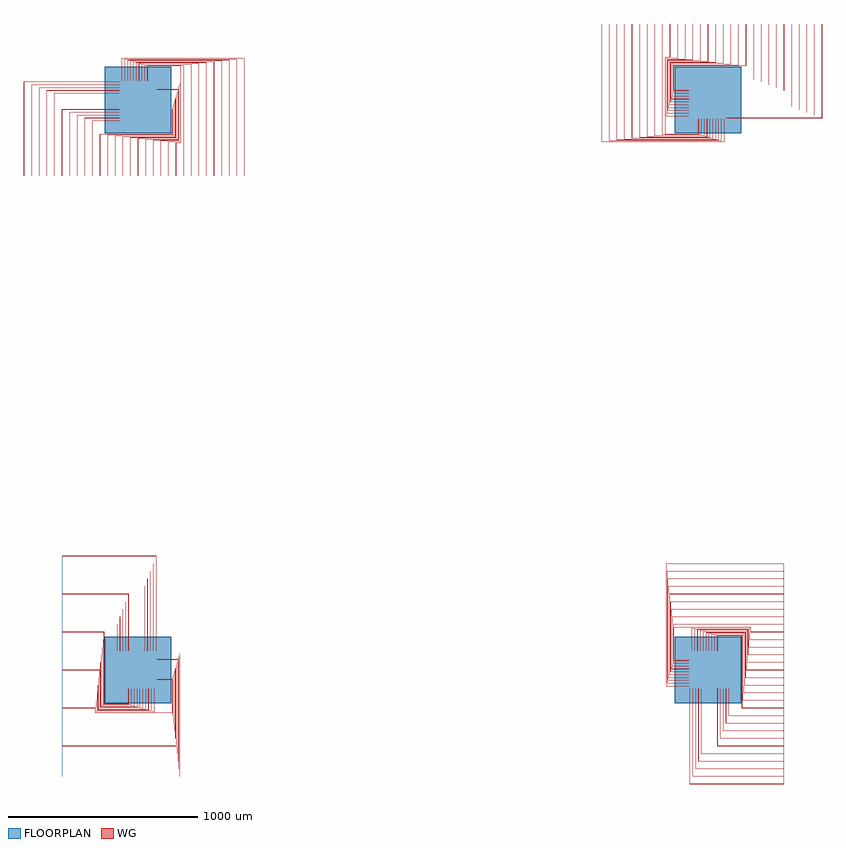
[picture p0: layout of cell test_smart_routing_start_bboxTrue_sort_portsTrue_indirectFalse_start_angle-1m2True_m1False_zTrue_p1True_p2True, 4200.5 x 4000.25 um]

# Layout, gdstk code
import gdstk
lib = gdstk.Library(unit=1e-6, precision=1e-09)
def R(c, l, rs):  # rectangles x0, y0, x1, y1
    for r in rs: c.add(gdstk.rectangle(r[:2], r[2:], *l))
def P(c, l, *ps):  # polygons
    for p in ps: c.add(gdstk.Polygon(p, *l))
WG = (1, 0)
FLOORPLAN = (10, 0)

test_smart_routing_start = lib.new_cell('test_smart_routing_start_bboxTrue_sort_portsTrue_indirectFalse_start_angle-1m2True_m1False_zTrue_p1True_p2True')
P(test_smart_routing_start, WG, [(3100,2905.05),(3100,2905.25),(3599.75,2905.25),(3599.75,3400),(3599.95,3400),(3599.95,2905.05)],
  [(3100,2904.75),(3100,2904.95),(3600.05,2904.95),(3600.05,3400),(3600.25,3400),(3600.25,2904.75)],
  [(3100,2920.05),(3100,2920.25),(3559.75,2920.25),(3559.75,3400),(3559.95,3400),(3559.95,2920.05)],
  [(3100,2919.75),(3100,2919.95),(3560.05,2919.95),(3560.05,3400),(3560.25,3400),(3560.25,2919.75)],
  [(3100,2935.05),(3100,2935.25),(3519.75,2935.25),(3519.75,3400),(3519.95,3400),(3519.95,2935.05)],
  [(3100,2934.75),(3100,2934.95),(3520.05,2934.95),(3520.05,3400),(3520.25,3400),(3520.25,2934.75)],
  [(3100,2950.05),(3100,2950.25),(3479.75,2950.25),(3479.75,3400),(3479.95,3400),(3479.95,2950.05)],
  [(3100,2949.75),(3100,2949.95),(3480.05,2949.95),(3480.05,3400),(3480.25,3400),(3480.25,2949.75)],
  [(3100,2965.05),(3100,2965.25),(3439.75,2965.25),(3439.75,3400),(3439.95,3400),(3439.95,2965.05)],
  [(3100,2964.75),(3100,2964.95),(3440.05,2964.95),(3440.05,3400),(3440.25,3400),(3440.25,2964.75)],
  [(3100,3050.05),(3100,3050.25),(3399.75,3050.25),(3399.75,3400),(3399.95,3400),(3399.95,3050.05)],
  [(3100,3049.75),(3100,3049.95),(3400.05,3049.95),(3400.05,3400),(3400.25,3400),(3400.25,3049.75)],
  [(3100,3065.05),(3100,3065.25),(3359.75,3065.25),(3359.75,3400),(3359.95,3400),(3359.95,3065.05)],
  [(3100,3064.75),(3100,3064.95),(3360.05,3064.95),(3360.05,3400),(3360.25,3400),(3360.25,3064.75)],
  [(3100,3080.05),(3100,3080.25),(3319.75,3080.25),(3319.75,3400),(3319.95,3400),(3319.95,3080.05)],
  [(3100,3079.75),(3100,3079.95),(3320.05,3079.95),(3320.05,3400),(3320.25,3400),(3320.25,3079.75)],
  [(3100,3095.05),(3100,3095.25),(3279.75,3095.25),(3279.75,3400),(3279.95,3400),(3279.95,3095.05)],
  [(3100,3094.75),(3100,3094.95),(3280.05,3094.95),(3280.05,3400),(3280.25,3400),(3280.25,3094.75)],
  [(3100,3110.05),(3100,3110.25),(3239.75,3110.25),(3239.75,3400),(3239.95,3400),(3239.95,3110.05)],
  [(3100,3109.75),(3100,3109.95),(3240.05,3109.95),(3240.05,3400),(3240.25,3400),(3240.25,3109.75)],
  [(2820.5,3049.75),(2820.5,3179.5),(3199.75,3179.5),(3199.75,3400),(3199.95,3400),(3199.95,3179.3),(2820.7,3179.3),(2820.7,3049.95),(2900,3049.95),(2900,3049.75)],
  [(2820.8,3050.05),(2820.8,3179.2),(3200.05,3179.2),(3200.05,3400),(3200.25,3400),(3200.25,3179),(2821,3179),(2821,3050.25),(2900,3050.25),(2900,3050.05)],
  [(2816,3034.75),(2816,3184),(3159.75,3184),(3159.75,3400),(3159.95,3400),(3159.95,3183.8),(2816.2,3183.8),(2816.2,3034.95),(2900,3034.95),(2900,3034.75)],
  [(2816.3,3035.05),(2816.3,3183.7),(3160.05,3183.7),(3160.05,3400),(3160.25,3400),(3160.25,3183.5),(2816.5,3183.5),(2816.5,3035.25),(2900,3035.25),(2900,3035.05)],
  [(2811.5,3019.75),(2811.5,3188.5),(3119.75,3188.5),(3119.75,3400),(3119.95,3400),(3119.95,3188.3),(2811.7,3188.3),(2811.7,3019.95),(2900,3019.95),(2900,3019.75)],
  [(2811.8,3020.05),(2811.8,3188.2),(3120.05,3188.2),(3120.05,3400),(3120.25,3400),(3120.25,3188),(2812,3188),(2812,3020.25),(2900,3020.25),(2900,3020.05)],
  [(2807,3004.75),(2807,3193),(3079.75,3193),(3079.75,3400),(3079.95,3400),(3079.95,3192.8),(2807.2,3192.8),(2807.2,3004.95),(2900,3004.95),(2900,3004.75)],
  [(2807.3,3005.05),(2807.3,3192.7),(3080.05,3192.7),(3080.05,3400),(3080.25,3400),(3080.25,3192.5),(2807.5,3192.5),(2807.5,3005.25),(2900,3005.25),(2900,3005.05)],
  [(2802.5,2989.75),(2802.5,3197.5),(3039.75,3197.5),(3039.75,3400),(3039.95,3400),(3039.95,3197.3),(2802.7,3197.3),(2802.7,2989.95),(2900,2989.95),(2900,2989.75)],
  [(2802.8,2990.05),(2802.8,3197.2),(3040.05,3197.2),(3040.05,3400),(3040.25,3400),(3040.25,3197),(2803,3197),(2803,2990.25),(2900,2990.25),(2900,2990.05)],
  [(2798,2974.75),(2798,3202),(2999.75,3202),(2999.75,3400),(2999.95,3400),(2999.95,3201.8),(2798.2,3201.8),(2798.2,2974.95),(2900,2974.95),(2900,2974.75)],
  [(2798.3,2975.05),(2798.3,3201.7),(3000.05,3201.7),(3000.05,3400),(3000.25,3400),(3000.25,3201.5),(2798.5,3201.5),(2798.5,2975.25),(2900,2975.25),(2900,2975.05)],
  [(2793.5,2959.75),(2793.5,3206.5),(2959.75,3206.5),(2959.75,3400),(2959.95,3400),(2959.95,3206.3),(2793.7,3206.3),(2793.7,2959.95),(2900,2959.95),(2900,2959.75)],
  [(2793.8,2960.05),(2793.8,3206.2),(2960.05,3206.2),(2960.05,3400),(2960.25,3400),(2960.25,3206),(2794,3206),(2794,2960.25),(2900,2960.25),(2900,2960.05)],
  [(2789,2944.75),(2789,3211),(2919.75,3211),(2919.75,3400),(2919.95,3400),(2919.95,3210.8),(2789.2,3210.8),(2789.2,2944.95),(2900,2944.95),(2900,2944.75)],
  [(2789.3,2945.05),(2789.3,3210.7),(2920.05,3210.7),(2920.05,3400),(2920.25,3400),(2920.25,3210.5),(2789.5,3210.5),(2789.5,2945.25),(2900,2945.25),(2900,2945.05)],
  [(2784.5,2929.75),(2784.5,3215.5),(2879.75,3215.5),(2879.75,3400),(2879.95,3400),(2879.95,3215.3),(2784.7,3215.3),(2784.7,2929.95),(2900,2929.95),(2900,2929.75)],
  [(2784.8,2930.05),(2784.8,3215.2),(2880.05,3215.2),(2880.05,3400),(2880.25,3400),(2880.25,3215),(2785,3215),(2785,2930.25),(2900,2930.25),(2900,2930.05)],
  [(2780,2914.75),(2780,3220),(2839.75,3220),(2839.75,3400),(2839.95,3400),(2839.95,3219.8),(2780.2,3219.8),(2780.2,2914.95),(2900,2914.95),(2900,2914.75)],
  [(2780.3,2915.05),(2780.3,3219.7),(2840.05,3219.7),(2840.05,3400),(2840.25,3400),(2840.25,3219.5),(2780.5,3219.5),(2780.5,2915.25),(2900,2915.25),(2900,2915.05)],
  [(2775.5,2820.5),(2775.5,3224.5),(2799.75,3224.5),(2799.75,3400),(2799.95,3400),(2799.95,3224.3),(2775.7,3224.3),(2775.7,2820.7),(2950.05,2820.7),(2950.05,2900),(2950.25,2900),(2950.25,2820.5)],
  [(2775.8,2820.8),(2775.8,3224.2),(2800.05,3224.2),(2800.05,3400),(2800.25,3400),(2800.25,3224),(2776,3224),(2776,2821),(2949.75,2821),(2949.75,2900),(2949.95,2900),(2949.95,2820.8)],
  [(2759.75,2816),(2759.75,3400),(2759.95,3400),(2759.95,2816.2),(2965.05,2816.2),(2965.05,2900),(2965.25,2900),(2965.25,2816)],
  [(2760.05,2816.3),(2760.05,3400),(2760.25,3400),(2760.25,2816.5),(2964.75,2816.5),(2964.75,2900),(2964.95,2900),(2964.95,2816.3)],
  [(2719.75,2811.5),(2719.75,3400),(2719.95,3400),(2719.95,2811.7),(2980.05,2811.7),(2980.05,2900),(2980.25,2900),(2980.25,2811.5)],
  [(2720.05,2811.8),(2720.05,3400),(2720.25,3400),(2720.25,2812),(2979.75,2812),(2979.75,2900),(2979.95,2900),(2979.95,2811.8)],
  [(2679.75,2807),(2679.75,3400),(2679.95,3400),(2679.95,2807.2),(2995.05,2807.2),(2995.05,2900),(2995.25,2900),(2995.25,2807)],
  [(2680.05,2807.3),(2680.05,3400),(2680.25,3400),(2680.25,2807.5),(2994.75,2807.5),(2994.75,2900),(2994.95,2900),(2994.95,2807.3)],
  [(2639.75,2802.5),(2639.75,3400),(2639.95,3400),(2639.95,2802.7),(3010.05,2802.7),(3010.05,2900),(3010.25,2900),(3010.25,2802.5)],
  [(2640.05,2802.8),(2640.05,3400),(2640.25,3400),(2640.25,2803),(3009.75,2803),(3009.75,2900),(3009.95,2900),(3009.95,2802.8)],
  [(2599.75,2798),(2599.75,3400),(2599.95,3400),(2599.95,2798.2),(3025.05,2798.2),(3025.05,2900),(3025.25,2900),(3025.25,2798)],
  [(2600.05,2798.3),(2600.05,3400),(2600.25,3400),(2600.25,2798.5),(3024.75,2798.5),(3024.75,2900),(3024.95,2900),(3024.95,2798.3)],
  [(2559.75,2793.5),(2559.75,3400),(2559.95,3400),(2559.95,2793.7),(3040.05,2793.7),(3040.05,2900),(3040.25,2900),(3040.25,2793.5)],
  [(2560.05,2793.8),(2560.05,3400),(2560.25,3400),(2560.25,2794),(3039.75,2794),(3039.75,2900),(3039.95,2900),(3039.95,2793.8)],
  [(2519.75,2789),(2519.75,3400),(2519.95,3400),(2519.95,2789.2),(3055.05,2789.2),(3055.05,2900),(3055.25,2900),(3055.25,2789)],
  [(2520.05,2789.3),(2520.05,3400),(2520.25,3400),(2520.25,2789.5),(3054.75,2789.5),(3054.75,2900),(3054.95,2900),(3054.95,2789.3)],
  [(2479.75,2784.5),(2479.75,3400),(2479.95,3400),(2479.95,2784.7),(3070.05,2784.7),(3070.05,2900),(3070.25,2900),(3070.25,2784.5)],
  [(2480.05,2784.8),(2480.05,3400),(2480.25,3400),(2480.25,2785),(3069.75,2785),(3069.75,2900),(3069.95,2900),(3069.95,2784.8)],
  [(2439.75,2780),(2439.75,3400),(2439.95,3400),(2439.95,2780.2),(3085.05,2780.2),(3085.05,2900),(3085.25,2900),(3085.25,2780)],
  [(2440.05,2780.3),(2440.05,3400),(2440.25,3400),(2440.25,2780.5),(3084.75,2780.5),(3084.75,2900),(3084.95,2900),(3084.95,2780.3)],
  [(-599.95,2600),(-599.95,3094.95),(-100,3094.95),(-100,3094.75),(-599.75,3094.75),(-599.75,2600)],
  [(-600.25,2600),(-600.25,3095.25),(-100,3095.25),(-100,3095.05),(-600.05,3095.05),(-600.05,2600)],
  [(-559.95,2600),(-559.95,3079.95),(-100,3079.95),(-100,3079.75),(-559.75,3079.75),(-559.75,2600)],
  [(-560.25,2600),(-560.25,3080.25),(-100,3080.25),(-100,3080.05),(-560.05,3080.05),(-560.05,2600)],
  [(-519.95,2600),(-519.95,3064.95),(-100,3064.95),(-100,3064.75),(-519.75,3064.75),(-519.75,2600)],
  [(-520.25,2600),(-520.25,3065.25),(-100,3065.25),(-100,3065.05),(-520.05,3065.05),(-520.05,2600)],
  [(-479.95,2600),(-479.95,3049.95),(-100,3049.95),(-100,3049.75),(-479.75,3049.75),(-479.75,2600)],
  [(-480.25,2600),(-480.25,3050.25),(-100,3050.25),(-100,3050.05),(-480.05,3050.05),(-480.05,2600)],
  [(-439.95,2600),(-439.95,3034.95),(-100,3034.95),(-100,3034.75),(-439.75,3034.75),(-439.75,2600)],
  [(-440.25,2600),(-440.25,3035.25),(-100,3035.25),(-100,3035.05),(-440.05,3035.05),(-440.05,2600)],
  [(-399.95,2600),(-399.95,2949.95),(-100,2949.95),(-100,2949.75),(-399.75,2949.75),(-399.75,2600)],
  [(-400.25,2600),(-400.25,2950.25),(-100,2950.25),(-100,2950.05),(-400.05,2950.05),(-400.05,2600)],
  [(-359.95,2600),(-359.95,2934.95),(-100,2934.95),(-100,2934.75),(-359.75,2934.75),(-359.75,2600)],
  [(-360.25,2600),(-360.25,2935.25),(-100,2935.25),(-100,2935.05),(-360.05,2935.05),(-360.05,2600)],
  [(-319.95,2600),(-319.95,2919.95),(-100,2919.95),(-100,2919.75),(-319.75,2919.75),(-319.75,2600)],
  [(-320.25,2600),(-320.25,2920.25),(-100,2920.25),(-100,2920.05),(-320.05,2920.05),(-320.05,2600)],
  [(-279.95,2600),(-279.95,2904.95),(-100,2904.95),(-100,2904.75),(-279.75,2904.75),(-279.75,2600)],
  [(-280.25,2600),(-280.25,2905.25),(-100,2905.25),(-100,2905.05),(-280.05,2905.05),(-280.05,2600)],
  [(-239.95,2600),(-239.95,2889.95),(-100,2889.95),(-100,2889.75),(-239.75,2889.75),(-239.75,2600)],
  [(-240.25,2600),(-240.25,2890.25),(-100,2890.25),(-100,2890.05),(-240.05,2890.05),(-240.05,2600)],
  [(-200.25,2600),(-200.25,2821),(179,2821),(179,2949.75),(100,2949.75),(100,2949.95),(179.2,2949.95),(179.2,2820.8),(-200.05,2820.8),(-200.05,2600)],
  [(-199.95,2600),(-199.95,2820.7),(179.3,2820.7),(179.3,2950.05),(100,2950.05),(100,2950.25),(179.5,2950.25),(179.5,2820.5),(-199.75,2820.5),(-199.75,2600)],
  [(-160.25,2600),(-160.25,2816.5),(183.5,2816.5),(183.5,2964.75),(100,2964.75),(100,2964.95),(183.7,2964.95),(183.7,2816.3),(-160.05,2816.3),(-160.05,2600)],
  [(-159.95,2600),(-159.95,2816.2),(183.8,2816.2),(183.8,2965.05),(100,2965.05),(100,2965.25),(184,2965.25),(184,2816),(-159.75,2816),(-159.75,2600)],
  [(-120.25,2600),(-120.25,2812),(188,2812),(188,2979.75),(100,2979.75),(100,2979.95),(188.2,2979.95),(188.2,2811.8),(-120.05,2811.8),(-120.05,2600)],
  [(-119.95,2600),(-119.95,2811.7),(188.3,2811.7),(188.3,2980.05),(100,2980.05),(100,2980.25),(188.5,2980.25),(188.5,2811.5),(-119.75,2811.5),(-119.75,2600)],
  [(-80.25,2600),(-80.25,2807.5),(192.5,2807.5),(192.5,2994.75),(100,2994.75),(100,2994.95),(192.7,2994.95),(192.7,2807.3),(-80.05,2807.3),(-80.05,2600)],
  [(-79.95,2600),(-79.95,2807.2),(192.8,2807.2),(192.8,2995.05),(100,2995.05),(100,2995.25),(193,2995.25),(193,2807),(-79.75,2807),(-79.75,2600)],
  [(-40.25,2600),(-40.25,2803),(197,2803),(197,3009.75),(100,3009.75),(100,3009.95),(197.2,3009.95),(197.2,2802.8),(-40.05,2802.8),(-40.05,2600)],
  [(-39.95,2600),(-39.95,2802.7),(197.3,2802.7),(197.3,3010.05),(100,3010.05),(100,3010.25),(197.5,3010.25),(197.5,2802.5),(-39.75,2802.5),(-39.75,2600)],
  [(-0.25,2600),(-0.25,2798.5),(201.5,2798.5),(201.5,3024.75),(100,3024.75),(100,3024.95),(201.7,3024.95),(201.7,2798.3),(-0.05,2798.3),(-0.05,2600)],
  [(0.05,2600),(0.05,2798.2),(201.8,2798.2),(201.8,3025.05),(100,3025.05),(100,3025.25),(202,3025.25),(202,2798),(0.25,2798),(0.25,2600)],
  [(39.75,2600),(39.75,2794),(206,2794),(206,3039.75),(100,3039.75),(100,3039.95),(206.2,3039.95),(206.2,2793.8),(39.95,2793.8),(39.95,2600)],
  [(40.05,2600),(40.05,2793.7),(206.3,2793.7),(206.3,3040.05),(100,3040.05),(100,3040.25),(206.5,3040.25),(206.5,2793.5),(40.25,2793.5),(40.25,2600)],
  [(79.75,2600),(79.75,2789.5),(210.5,2789.5),(210.5,3054.75),(100,3054.75),(100,3054.95),(210.7,3054.95),(210.7,2789.3),(79.95,2789.3),(79.95,2600)],
  [(80.05,2600),(80.05,2789.2),(210.8,2789.2),(210.8,3055.05),(100,3055.05),(100,3055.25),(211,3055.25),(211,2789),(80.25,2789),(80.25,2600)],
  [(119.75,2600),(119.75,2785),(215,2785),(215,3069.75),(100,3069.75),(100,3069.95),(215.2,3069.95),(215.2,2784.8),(119.95,2784.8),(119.95,2600)],
  [(120.05,2600),(120.05,2784.7),(215.3,2784.7),(215.3,3070.05),(100,3070.05),(100,3070.25),(215.5,3070.25),(215.5,2784.5),(120.25,2784.5),(120.25,2600)],
  [(159.75,2600),(159.75,2780.5),(219.5,2780.5),(219.5,3084.75),(100,3084.75),(100,3084.95),(219.7,3084.95),(219.7,2780.3),(159.95,2780.3),(159.95,2600)],
  [(160.05,2600),(160.05,2780.2),(219.8,2780.2),(219.8,3085.05),(100,3085.05),(100,3085.25),(220,3085.25),(220,2780),(160.25,2780),(160.25,2600)],
  [(199.75,2600),(199.75,2776),(224,2776),(224,3179),(50.25,3179),(50.25,3100),(50.05,3100),(50.05,3179.2),(224.2,3179.2),(224.2,2775.8),(199.95,2775.8),(199.95,2600)],
  [(200.05,2600),(200.05,2775.7),(224.3,2775.7),(224.3,3179.3),(49.95,3179.3),(49.95,3100),(49.75,3100),(49.75,3179.5),(224.5,3179.5),(224.5,2775.5),(200.25,2775.5),(200.25,2600)],
  [(239.75,2600),(239.75,3183.5),(35.25,3183.5),(35.25,3100),(35.05,3100),(35.05,3183.7),(239.95,3183.7),(239.95,2600)],
  [(240.05,2600),(240.05,3183.8),(34.95,3183.8),(34.95,3100),(34.75,3100),(34.75,3184),(240.25,3184),(240.25,2600)],
  [(279.75,2600),(279.75,3188),(20.25,3188),(20.25,3100),(20.05,3100),(20.05,3188.2),(279.95,3188.2),(279.95,2600)],
  [(280.05,2600),(280.05,3188.3),(19.95,3188.3),(19.95,3100),(19.75,3100),(19.75,3188.5),(280.25,3188.5),(280.25,2600)],
  [(319.75,2600),(319.75,3192.5),(5.25,3192.5),(5.25,3100),(5.05,3100),(5.05,3192.7),(319.95,3192.7),(319.95,2600)],
  [(320.05,2600),(320.05,3192.8),(4.95,3192.8),(4.95,3100),(4.75,3100),(4.75,3193),(320.25,3193),(320.25,2600)],
  [(359.75,2600),(359.75,3197),(-9.75,3197),(-9.75,3100),(-9.95,3100),(-9.95,3197.2),(359.95,3197.2),(359.95,2600)],
  [(360.05,2600),(360.05,3197.3),(-10.05,3197.3),(-10.05,3100),(-10.25,3100),(-10.25,3197.5),(360.25,3197.5),(360.25,2600)],
  [(399.75,2600),(399.75,3201.5),(-24.75,3201.5),(-24.75,3100),(-24.95,3100),(-24.95,3201.7),(399.95,3201.7),(399.95,2600)],
  [(400.05,2600),(400.05,3201.8),(-25.05,3201.8),(-25.05,3100),(-25.25,3100),(-25.25,3202),(400.25,3202),(400.25,2600)],
  [(439.75,2600),(439.75,3206),(-39.75,3206),(-39.75,3100),(-39.95,3100),(-39.95,3206.2),(439.95,3206.2),(439.95,2600)],
  [(440.05,2600),(440.05,3206.3),(-40.05,3206.3),(-40.05,3100),(-40.25,3100),(-40.25,3206.5),(440.25,3206.5),(440.25,2600)],
  [(479.75,2600),(479.75,3210.5),(-54.75,3210.5),(-54.75,3100),(-54.95,3100),(-54.95,3210.7),(479.95,3210.7),(479.95,2600)],
  [(480.05,2600),(480.05,3210.8),(-55.05,3210.8),(-55.05,3100),(-55.25,3100),(-55.25,3211),(480.25,3211),(480.25,2600)],
  [(519.75,2600),(519.75,3215),(-69.75,3215),(-69.75,3100),(-69.95,3100),(-69.95,3215.2),(519.95,3215.2),(519.95,2600)],
  [(520.05,2600),(520.05,3215.3),(-70.05,3215.3),(-70.05,3100),(-70.25,3100),(-70.25,3215.5),(520.25,3215.5),(520.25,2600)],
  [(559.75,2600),(559.75,3219.5),(-84.75,3219.5),(-84.75,3100),(-84.95,3100),(-84.95,3219.7),(559.95,3219.7),(559.95,2600)],
  [(560.05,2600),(560.05,3219.8),(-85.05,3219.8),(-85.05,3100),(-85.25,3100),(-85.25,3220),(560.25,3220),(560.25,2600)],
  [(94.75,100),(94.75,599.75),(-400,599.75),(-400,599.95),(94.95,599.95),(94.95,100)],
  [(95.05,100),(95.05,600.05),(-400,600.05),(-400,600.25),(95.25,600.25),(95.25,100)],
  [(79.75,100),(79.75,559.75),(-400,559.75),(-400,559.95),(79.95,559.95),(79.95,100)],
  [(80.05,100),(80.05,560.05),(-400,560.05),(-400,560.25),(80.25,560.25),(80.25,100)],
  [(64.75,100),(64.75,519.75),(-400,519.75),(-400,519.95),(64.95,519.95),(64.95,100)],
  [(65.05,100),(65.05,520.05),(-400,520.05),(-400,520.25),(65.25,520.25),(65.25,100)],
  [(49.75,100),(49.75,479.75),(-400,479.75),(-400,479.95),(49.95,479.95),(49.95,100)],
  [(50.05,100),(50.05,480.05),(-400,480.05),(-400,480.25),(50.25,480.25),(50.25,100)],
  [(34.75,100),(34.75,439.75),(-400,439.75),(-400,439.95),(34.95,439.95),(34.95,100)],
  [(35.05,100),(35.05,440.05),(-400,440.05),(-400,440.25),(35.25,440.25),(35.25,100)],
  [(-50.25,100),(-50.25,399.75),(-400,399.75),(-400,399.95),(-50.05,399.95),(-50.05,100)],
  [(-49.95,100),(-49.95,400.05),(-400,400.05),(-400,400.25),(-49.75,400.25),(-49.75,100)],
  [(-65.25,100),(-65.25,359.75),(-400,359.75),(-400,359.95),(-65.05,359.95),(-65.05,100)],
  [(-64.95,100),(-64.95,360.05),(-400,360.05),(-400,360.25),(-64.75,360.25),(-64.75,100)],
  [(-80.25,100),(-80.25,319.75),(-400,319.75),(-400,319.95),(-80.05,319.95),(-80.05,100)],
  [(-79.95,100),(-79.95,320.05),(-400,320.05),(-400,320.25),(-79.75,320.25),(-79.75,100)],
  [(-95.25,100),(-95.25,279.75),(-400,279.75),(-400,279.95),(-95.05,279.95),(-95.05,100)],
  [(-94.95,100),(-94.95,280.05),(-400,280.05),(-400,280.25),(-94.75,280.25),(-94.75,100)],
  [(-110.25,100),(-110.25,239.75),(-400,239.75),(-400,239.95),(-110.05,239.95),(-110.05,100)],
  [(-109.95,100),(-109.95,240.05),(-400,240.05),(-400,240.25),(-109.75,240.25),(-109.75,100)],
  [(-179.5,-179.5),(-179.5,199.75),(-400,199.75),(-400,199.95),(-179.3,199.95),(-179.3,-179.3),(-49.95,-179.3),(-49.95,-100),(-49.75,-100),(-49.75,-179.5)],
  [(-179.2,-179.2),(-179.2,200.05),(-400,200.05),(-400,200.25),(-179,200.25),(-179,-179),(-50.25,-179),(-50.25,-100),(-50.05,-100),(-50.05,-179.2)],
  [(-184,-184),(-184,159.75),(-400,159.75),(-400,159.95),(-183.8,159.95),(-183.8,-183.8),(-34.95,-183.8),(-34.95,-100),(-34.75,-100),(-34.75,-184)],
  [(-183.7,-183.7),(-183.7,160.05),(-400,160.05),(-400,160.25),(-183.5,160.25),(-183.5,-183.5),(-35.25,-183.5),(-35.25,-100),(-35.05,-100),(-35.05,-183.7)],
  [(-188.5,-188.5),(-188.5,119.75),(-400,119.75),(-400,119.95),(-188.3,119.95),(-188.3,-188.3),(-19.95,-188.3),(-19.95,-100),(-19.75,-100),(-19.75,-188.5)],
  [(-188.2,-188.2),(-188.2,120.05),(-400,120.05),(-400,120.25),(-188,120.25),(-188,-188),(-20.25,-188),(-20.25,-100),(-20.05,-100),(-20.05,-188.2)],
  [(-193,-193),(-193,79.75),(-400,79.75),(-400,79.95),(-192.8,79.95),(-192.8,-192.8),(-4.95,-192.8),(-4.95,-100),(-4.75,-100),(-4.75,-193)],
  [(-192.7,-192.7),(-192.7,80.05),(-400,80.05),(-400,80.25),(-192.5,80.25),(-192.5,-192.5),(-5.25,-192.5),(-5.25,-100),(-5.05,-100),(-5.05,-192.7)],
  [(-197.5,-197.5),(-197.5,39.75),(-400,39.75),(-400,39.95),(-197.3,39.95),(-197.3,-197.3),(10.05,-197.3),(10.05,-100),(10.25,-100),(10.25,-197.5)],
  [(-197.2,-197.2),(-197.2,40.05),(-400,40.05),(-400,40.25),(-197,40.25),(-197,-197),(9.75,-197),(9.75,-100),(9.95,-100),(9.95,-197.2)],
  [(-202,-202),(-202,-0.25),(-400,-0.25),(-400,-0.05),(-201.8,-0.05),(-201.8,-201.8),(25.05,-201.8),(25.05,-100),(25.25,-100),(25.25,-202)],
  [(-201.7,-201.7),(-201.7,0.05),(-400,0.05),(-400,0.25),(-201.5,0.25),(-201.5,-201.5),(24.75,-201.5),(24.75,-100),(24.95,-100),(24.95,-201.7)],
  [(-206.5,-206.5),(-206.5,-40.25),(-400,-40.25),(-400,-40.05),(-206.3,-40.05),(-206.3,-206.3),(40.05,-206.3),(40.05,-100),(40.25,-100),(40.25,-206.5)],
  [(-206.2,-206.2),(-206.2,-39.95),(-400,-39.95),(-400,-39.75),(-206,-39.75),(-206,-206),(39.75,-206),(39.75,-100),(39.95,-100),(39.95,-206.2)],
  [(-211,-211),(-211,-80.25),(-400,-80.25),(-400,-80.05),(-210.8,-80.05),(-210.8,-210.8),(55.05,-210.8),(55.05,-100),(55.25,-100),(55.25,-211)],
  [(-210.7,-210.7),(-210.7,-79.95),(-400,-79.95),(-400,-79.75),(-210.5,-79.75),(-210.5,-210.5),(54.75,-210.5),(54.75,-100),(54.95,-100),(54.95,-210.7)],
  [(-215.2,-215.2),(-215.2,-119.95),(-400,-119.95),(-400,-119.75),(-215,-119.75),(-215,-215),(69.75,-215),(69.75,-100),(69.95,-100),(69.95,-215.2)],
  [(-215.5,-215.5),(-215.5,-120.25),(-400,-120.25),(-400,-120.05),(-215.3,-120.05),(-215.3,-215.3),(70.05,-215.3),(70.05,-100),(70.25,-100),(70.25,-215.5)],
  [(-219.7,-219.7),(-219.7,-159.95),(-400,-159.95),(-400,-159.75),(-219.5,-159.75),(-219.5,-219.5),(84.75,-219.5),(84.75,-100),(84.95,-100),(84.95,-219.7)],
  [(-220,-220),(-220,-160.25),(-400,-160.25),(-400,-160.05),(-219.8,-160.05),(-219.8,-219.8),(85.05,-219.8),(85.05,-100),(85.25,-100),(85.25,-220)],
  [(-224.2,-224.2),(-224.2,-199.95),(-400,-199.95),(-400,-199.75),(-224,-199.75),(-224,-224),(179,-224),(179,-50.25),(100,-50.25),(100,-50.05),(179.2,-50.05),(179.2,-224.2)],
  [(-224.5,-224.5),(-224.5,-200.25),(-400,-200.25),(-400,-200.05),(-224.3,-200.05),(-224.3,-224.3),(179.3,-224.3),(179.3,-49.95),(100,-49.95),(100,-49.75),(179.5,-49.75),(179.5,-224.5)],
  [(-400,-239.95),(-400,-239.75),(183.5,-239.75),(183.5,-35.25),(100,-35.25),(100,-35.05),(183.7,-35.05),(183.7,-239.95)],
  [(-400,-240.25),(-400,-240.05),(183.8,-240.05),(183.8,-34.95),(100,-34.95),(100,-34.75),(184,-34.75),(184,-240.25)],
  [(-400,-279.95),(-400,-279.75),(188,-279.75),(188,-20.25),(100,-20.25),(100,-20.05),(188.2,-20.05),(188.2,-279.95)],
  [(-400,-280.25),(-400,-280.05),(188.3,-280.05),(188.3,-19.95),(100,-19.95),(100,-19.75),(188.5,-19.75),(188.5,-280.25)],
  [(-400,-319.95),(-400,-319.75),(192.5,-319.75),(192.5,-5.25),(100,-5.25),(100,-5.05),(192.7,-5.05),(192.7,-319.95)],
  [(-400,-320.25),(-400,-320.05),(192.8,-320.05),(192.8,-4.95),(100,-4.95),(100,-4.75),(193,-4.75),(193,-320.25)],
  [(-400,-359.95),(-400,-359.75),(197,-359.75),(197,9.75),(100,9.75),(100,9.95),(197.2,9.95),(197.2,-359.95)],
  [(-400,-360.25),(-400,-360.05),(197.3,-360.05),(197.3,10.05),(100,10.05),(100,10.25),(197.5,10.25),(197.5,-360.25)],
  [(-400,-399.95),(-400,-399.75),(201.5,-399.75),(201.5,24.75),(100,24.75),(100,24.95),(201.7,24.95),(201.7,-399.95)],
  [(-400,-400.25),(-400,-400.05),(201.8,-400.05),(201.8,25.05),(100,25.05),(100,25.25),(202,25.25),(202,-400.25)],
  [(-400,-439.95),(-400,-439.75),(206,-439.75),(206,39.75),(100,39.75),(100,39.95),(206.2,39.95),(206.2,-439.95)],
  [(-400,-440.25),(-400,-440.05),(206.3,-440.05),(206.3,40.05),(100,40.05),(100,40.25),(206.5,40.25),(206.5,-440.25)],
  [(-400,-479.95),(-400,-479.75),(210.5,-479.75),(210.5,54.75),(100,54.75),(100,54.95),(210.7,54.95),(210.7,-479.95)],
  [(-400,-480.25),(-400,-480.05),(210.8,-480.05),(210.8,55.05),(100,55.05),(100,55.25),(211,55.25),(211,-480.25)],
  [(-400,-519.95),(-400,-519.75),(215,-519.75),(215,69.75),(100,69.75),(100,69.95),(215.2,69.95),(215.2,-519.95)],
  [(-400,-520.25),(-400,-520.05),(215.3,-520.05),(215.3,70.05),(100,70.05),(100,70.25),(215.5,70.25),(215.5,-520.25)],
  [(-400,-559.95),(-400,-559.75),(219.5,-559.75),(219.5,84.75),(100,84.75),(100,84.95),(219.7,84.95),(219.7,-559.95)],
  [(-400,-560.25),(-400,-560.05),(219.8,-560.05),(219.8,85.05),(100,85.05),(100,85.25),(220,85.25),(220,-560.25)],
  [(2904.75,-600.25),(2904.75,-100),(2904.95,-100),(2904.95,-600.05),(3400,-600.05),(3400,-600.25)],
  [(2905.05,-599.95),(2905.05,-100),(2905.25,-100),(2905.25,-599.75),(3400,-599.75),(3400,-599.95)],
  [(2919.75,-560.25),(2919.75,-100),(2919.95,-100),(2919.95,-560.05),(3400,-560.05),(3400,-560.25)],
  [(2920.05,-559.95),(2920.05,-100),(2920.25,-100),(2920.25,-559.75),(3400,-559.75),(3400,-559.95)],
  [(2934.75,-520.25),(2934.75,-100),(2934.95,-100),(2934.95,-520.05),(3400,-520.05),(3400,-520.25)],
  [(2935.05,-519.95),(2935.05,-100),(2935.25,-100),(2935.25,-519.75),(3400,-519.75),(3400,-519.95)],
  [(2949.75,-480.25),(2949.75,-100),(2949.95,-100),(2949.95,-480.05),(3400,-480.05),(3400,-480.25)],
  [(2950.05,-479.95),(2950.05,-100),(2950.25,-100),(2950.25,-479.75),(3400,-479.75),(3400,-479.95)],
  [(2964.75,-440.25),(2964.75,-100),(2964.95,-100),(2964.95,-440.05),(3400,-440.05),(3400,-440.25)],
  [(2965.05,-439.95),(2965.05,-100),(2965.25,-100),(2965.25,-439.75),(3400,-439.75),(3400,-439.95)],
  [(3049.75,-400.25),(3049.75,-100),(3049.95,-100),(3049.95,-400.05),(3400,-400.05),(3400,-400.25)],
  [(3050.05,-399.95),(3050.05,-100),(3050.25,-100),(3050.25,-399.75),(3400,-399.75),(3400,-399.95)],
  [(3064.75,-360.25),(3064.75,-100),(3064.95,-100),(3064.95,-360.05),(3400,-360.05),(3400,-360.25)],
  [(3065.05,-359.95),(3065.05,-100),(3065.25,-100),(3065.25,-359.75),(3400,-359.75),(3400,-359.95)],
  [(3079.75,-320.25),(3079.75,-100),(3079.95,-100),(3079.95,-320.05),(3400,-320.05),(3400,-320.25)],
  [(3080.05,-319.95),(3080.05,-100),(3080.25,-100),(3080.25,-319.75),(3400,-319.75),(3400,-319.95)],
  [(3094.75,-280.25),(3094.75,-100),(3094.95,-100),(3094.95,-280.05),(3400,-280.05),(3400,-280.25)],
  [(3095.05,-279.95),(3095.05,-100),(3095.25,-100),(3095.25,-279.75),(3400,-279.75),(3400,-279.95)],
  [(3109.75,-240.25),(3109.75,-100),(3109.95,-100),(3109.95,-240.05),(3400,-240.05),(3400,-240.25)],
  [(3110.05,-239.95),(3110.05,-100),(3110.25,-100),(3110.25,-239.75),(3400,-239.75),(3400,-239.95)],
  [(3179,-200.25),(3179,179),(3050.25,179),(3050.25,100),(3050.05,100),(3050.05,179.2),(3179.2,179.2),(3179.2,-200.05),(3400,-200.05),(3400,-200.25)],
  [(3179.3,-199.95),(3179.3,179.3),(3049.95,179.3),(3049.95,100),(3049.75,100),(3049.75,179.5),(3179.5,179.5),(3179.5,-199.75),(3400,-199.75),(3400,-199.95)],
  [(3183.5,-160.25),(3183.5,183.5),(3035.25,183.5),(3035.25,100),(3035.05,100),(3035.05,183.7),(3183.7,183.7),(3183.7,-160.05),(3400,-160.05),(3400,-160.25)],
  [(3183.8,-159.95),(3183.8,183.8),(3034.95,183.8),(3034.95,100),(3034.75,100),(3034.75,184),(3184,184),(3184,-159.75),(3400,-159.75),(3400,-159.95)],
  [(3188,-120.25),(3188,188),(3020.25,188),(3020.25,100),(3020.05,100),(3020.05,188.2),(3188.2,188.2),(3188.2,-120.05),(3400,-120.05),(3400,-120.25)],
  [(3188.3,-119.95),(3188.3,188.3),(3019.95,188.3),(3019.95,100),(3019.75,100),(3019.75,188.5),(3188.5,188.5),(3188.5,-119.75),(3400,-119.75),(3400,-119.95)],
  [(3192.5,-80.25),(3192.5,192.5),(3005.25,192.5),(3005.25,100),(3005.05,100),(3005.05,192.7),(3192.7,192.7),(3192.7,-80.05),(3400,-80.05),(3400,-80.25)],
  [(3192.8,-79.95),(3192.8,192.8),(3004.95,192.8),(3004.95,100),(3004.75,100),(3004.75,193),(3193,193),(3193,-79.75),(3400,-79.75),(3400,-79.95)],
  [(3197,-40.25),(3197,197),(2990.25,197),(2990.25,100),(2990.05,100),(2990.05,197.2),(3197.2,197.2),(3197.2,-40.05),(3400,-40.05),(3400,-40.25)],
  [(3197.3,-39.95),(3197.3,197.3),(2989.95,197.3),(2989.95,100),(2989.75,100),(2989.75,197.5),(3197.5,197.5),(3197.5,-39.75),(3400,-39.75),(3400,-39.95)],
  [(3201.5,-0.25),(3201.5,201.5),(2975.25,201.5),(2975.25,100),(2975.05,100),(2975.05,201.7),(3201.7,201.7),(3201.7,-0.05),(3400,-0.05),(3400,-0.25)],
  [(3201.8,0.05),(3201.8,201.8),(2974.95,201.8),(2974.95,100),(2974.75,100),(2974.75,202),(3202,202),(3202,0.25),(3400,0.25),(3400,0.05)],
  [(3206,39.75),(3206,206),(2960.25,206),(2960.25,100),(2960.05,100),(2960.05,206.2),(3206.2,206.2),(3206.2,39.95),(3400,39.95),(3400,39.75)],
  [(3206.3,40.05),(3206.3,206.3),(2959.95,206.3),(2959.95,100),(2959.75,100),(2959.75,206.5),(3206.5,206.5),(3206.5,40.25),(3400,40.25),(3400,40.05)],
  [(3210.5,79.75),(3210.5,210.5),(2945.25,210.5),(2945.25,100),(2945.05,100),(2945.05,210.7),(3210.7,210.7),(3210.7,79.95),(3400,79.95),(3400,79.75)],
  [(3210.8,80.05),(3210.8,210.8),(2944.95,210.8),(2944.95,100),(2944.75,100),(2944.75,211),(3211,211),(3211,80.25),(3400,80.25),(3400,80.05)],
  [(2930.05,100),(2930.05,215.2),(3215.2,215.2),(3215.2,119.95),(3400,119.95),(3400,119.75),(3215,119.75),(3215,215),(2930.25,215),(2930.25,100)],
  [(2929.75,100),(2929.75,215.5),(3215.5,215.5),(3215.5,120.25),(3400,120.25),(3400,120.05),(3215.3,120.05),(3215.3,215.3),(2929.95,215.3),(2929.95,100)],
  [(2915.05,100),(2915.05,219.7),(3219.7,219.7),(3219.7,159.95),(3400,159.95),(3400,159.75),(3219.5,159.75),(3219.5,219.5),(2915.25,219.5),(2915.25,100)],
  [(2914.75,100),(2914.75,220),(3220,220),(3220,160.25),(3400,160.25),(3400,160.05),(3219.8,160.05),(3219.8,219.8),(2914.95,219.8),(2914.95,100)],
  [(2820.8,50.05),(2820.8,224.2),(3224.2,224.2),(3224.2,199.95),(3400,199.95),(3400,199.75),(3224,199.75),(3224,224),(2821,224),(2821,50.25),(2900,50.25),(2900,50.05)],
  [(2820.5,49.75),(2820.5,224.5),(3224.5,224.5),(3224.5,200.25),(3400,200.25),(3400,200.05),(3224.3,200.05),(3224.3,224.3),(2820.7,224.3),(2820.7,49.95),(2900,49.95),(2900,49.75)],
  [(2816.3,35.05),(2816.3,239.95),(3400,239.95),(3400,239.75),(2816.5,239.75),(2816.5,35.25),(2900,35.25),(2900,35.05)],
  [(2816,34.75),(2816,240.25),(3400,240.25),(3400,240.05),(2816.2,240.05),(2816.2,34.95),(2900,34.95),(2900,34.75)],
  [(2811.8,20.05),(2811.8,279.95),(3400,279.95),(3400,279.75),(2812,279.75),(2812,20.25),(2900,20.25),(2900,20.05)],
  [(2811.5,19.75),(2811.5,280.25),(3400,280.25),(3400,280.05),(2811.7,280.05),(2811.7,19.95),(2900,19.95),(2900,19.75)],
  [(2807.3,5.05),(2807.3,319.95),(3400,319.95),(3400,319.75),(2807.5,319.75),(2807.5,5.25),(2900,5.25),(2900,5.05)],
  [(2807,4.75),(2807,320.25),(3400,320.25),(3400,320.05),(2807.2,320.05),(2807.2,4.95),(2900,4.95),(2900,4.75)],
  [(2802.8,-9.95),(2802.8,359.95),(3400,359.95),(3400,359.75),(2803,359.75),(2803,-9.75),(2900,-9.75),(2900,-9.95)],
  [(2802.5,-10.25),(2802.5,360.25),(3400,360.25),(3400,360.05),(2802.7,360.05),(2802.7,-10.05),(2900,-10.05),(2900,-10.25)],
  [(2798.3,-24.95),(2798.3,399.95),(3400,399.95),(3400,399.75),(2798.5,399.75),(2798.5,-24.75),(2900,-24.75),(2900,-24.95)],
  [(2798,-25.25),(2798,400.25),(3400,400.25),(3400,400.05),(2798.2,400.05),(2798.2,-25.05),(2900,-25.05),(2900,-25.25)],
  [(2793.8,-39.95),(2793.8,439.95),(3400,439.95),(3400,439.75),(2794,439.75),(2794,-39.75),(2900,-39.75),(2900,-39.95)],
  [(2793.5,-40.25),(2793.5,440.25),(3400,440.25),(3400,440.05),(2793.7,440.05),(2793.7,-40.05),(2900,-40.05),(2900,-40.25)],
  [(2789.3,-54.95),(2789.3,479.95),(3400,479.95),(3400,479.75),(2789.5,479.75),(2789.5,-54.75),(2900,-54.75),(2900,-54.95)],
  [(2789,-55.25),(2789,480.25),(3400,480.25),(3400,480.05),(2789.2,480.05),(2789.2,-55.05),(2900,-55.05),(2900,-55.25)],
  [(2784.8,-69.95),(2784.8,519.95),(3400,519.95),(3400,519.75),(2785,519.75),(2785,-69.75),(2900,-69.75),(2900,-69.95)],
  [(2784.5,-70.25),(2784.5,520.25),(3400,520.25),(3400,520.05),(2784.7,520.05),(2784.7,-70.05),(2900,-70.05),(2900,-70.25)],
  [(2780.3,-84.95),(2780.3,559.95),(3400,559.95),(3400,559.75),(2780.5,559.75),(2780.5,-84.75),(2900,-84.75),(2900,-84.95)],
  [(2780,-85.25),(2780,560.25),(3400,560.25),(3400,560.05),(2780.2,560.05),(2780.2,-85.05),(2900,-85.05),(2900,-85.25)])
R(test_smart_routing_start, FLOORPLAN, [(-175,-175,175,175), (2825,-175,3175,175), (-175,2825,175,3175), (2825,2825,3175,3175)])
P(test_smart_routing_start, FLOORPLAN, [(-400,-560),(-400,600),(-400,600),(-400,-560)],
  [(-600,2600),(-600,2600),(560,2600),(560,2600)],
  [(3400,-600),(3400,560),(3400,560),(3400,-600)],
  [(2440,3400),(2440,3400),(3600,3400),(3600,3400)])

lib.write_gds('test_smart_routing_start_bboxTrue_sort_portsTrue_indirectFalse_start_angle-1m2True_m1False_zTrue_p1True_p2True.gds')
